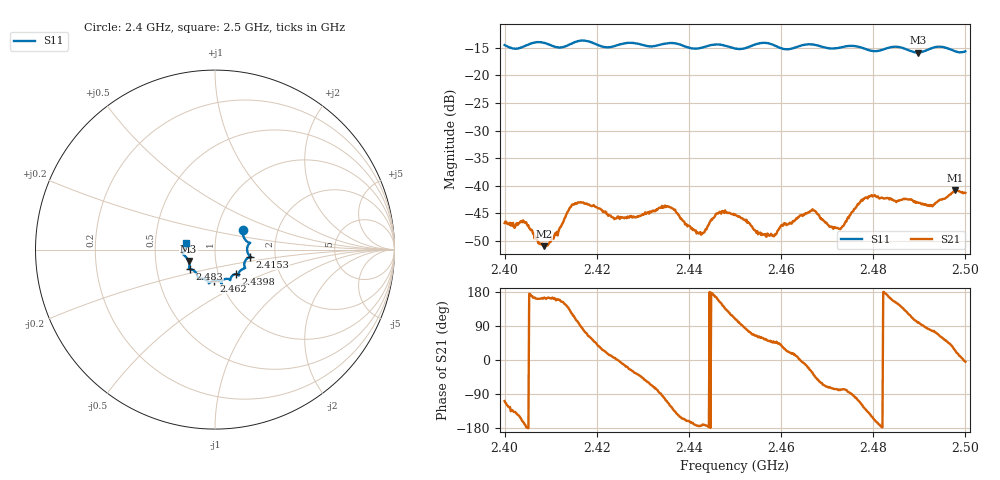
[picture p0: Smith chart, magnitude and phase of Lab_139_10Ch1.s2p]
# Hz S RI R 50
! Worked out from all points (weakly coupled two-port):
!   601 points, 2.4 GHz to 2.5 GHz, reference 50 ohm
!   highest |S21| = -40.83 dB at 2.4978 GHz (marker M1); lowest = -50.9 dB at 2.4085 GHz (marker M2)
!   lowest |S11| = -15.9 dB at 2.4897 GHz (marker M3), VSWR 1.38, Z = 36.9 - j4.8 ohm
!   |S11| at or under -10 dB: start of sweep to end of sweep
!   S12 and S22 are empty: the file has one direction only
!   S11 on the Smith chart (normalised r, x): 2.4 GHz: 1.33, +0.29; 2.4153 GHz: 1.48, -0.12; 2.4398 GHz: 1.21, -0.34; 2.462 GHz: 0.93, -0.33; 2.483 GHz: 0.74, -0.17; 2.5 GHz: 0.72, +0.06
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2.4e9  0.155 0.1066  -0.00145 -0.00435  0 0  0 0
2.404167e9  0.1767 0.0465  -0.00462 -0.00119  0 0  0 0
2.4085e9  0.1939 0.0363  -0.00273 0.000776  0 0  0 0
2.415333e9  0.1965 -0.0388  -0.00232 0.00657  0 0  0 0
2.416667e9  0.202 -0.0429  0.000454 0.00704  0 0  0 0
2.423833e9  0.1627 -0.0854  0.00495 0.000451  0 0  0 0
2.433333e9  0.1311 -0.1337  0.000797 -0.00618  0 0  0 0
2.4365e9  0.1325 -0.1446  -0.00394 -0.00479  0 0  0 0
2.439833e9  0.1153 -0.1363  -0.00412 -0.00145  0 0  0 0
2.442667e9  0.0911 -0.152  -0.00357 -0.000427  0 0  0 0
2.446333e9  0.0849 -0.1702  -0.00523 0.00199  0 0  0 0
2.45e9  0.0649 -0.1629  -0.00176 0.00522  0 0  0 0
2.456333e9  0.0386 -0.1931  0.00209 0.00294  0 0  0 0
2.462e9  -0.00514 -0.1732  0.00436 0.00151  0 0  0 0
2.466667e9  -0.0342 -0.1876  0.00505 -0.00315  0 0  0 0
2.4725e9  -0.075 -0.1606  0.000724 -0.00402  0 0  0 0
2.477833e9  -0.0981 -0.1461  -0.00423 -0.00629  0 0  0 0
2.483e9  -0.1376 -0.1096  -0.00767 0.00108  0 0  0 0
2.483333e9  -0.1401 -0.1093  -0.00748 0.00175  0 0  0 0
2.489667e9  -0.1473 -0.0634  -0.00102 0.00699  0 0  0 0
2.497833e9  -0.1647 0.0033  0.00828 0.00374  0 0  0 0
2.5e9  -0.16 0.0392  0.00859 -0.00069  0 0  0 0
